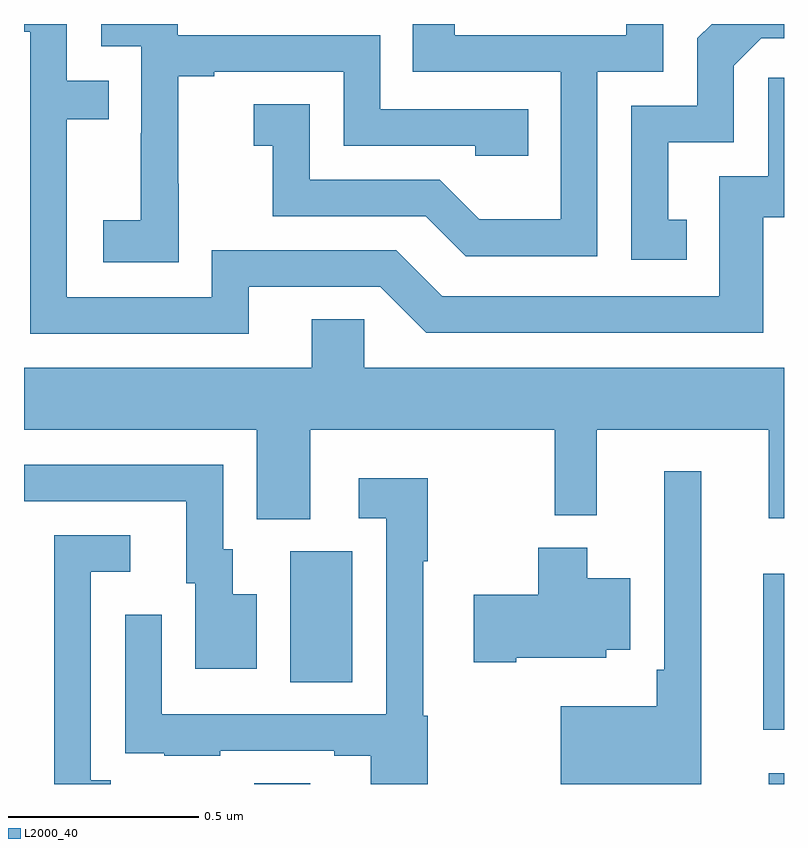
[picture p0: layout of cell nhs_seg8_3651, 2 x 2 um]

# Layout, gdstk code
import gdstk
lib = gdstk.Library(unit=1e-6, precision=1e-09)
def R(c, l, rs):  # rectangles x0, y0, x1, y1
    for r in rs: c.add(gdstk.rectangle(r[:2], r[2:], *l))
def P(c, l, *ps):  # polygons
    for p in ps: c.add(gdstk.Polygon(p, *l))
L2000_40 = (2000, 40)

nhs_seg8_3651 = lib.new_cell('nhs_seg8_3651')
R(nhs_seg8_3651, L2000_40, [(160.606,1116.9,160.753,1116.902), (161.96,1116.9,162,1116.928), (161.945,1117.043,162,1117.453), (160.7,1117.168,160.864,1117.512)])
P(nhs_seg8_3651, L2000_40, [(161.744,1118.385),(161.695,1118.385),(161.695,1118.589),(161.868,1118.589),(161.868,1118.79),(161.94,1118.862),(162,1118.862),(162,1118.9),(161.81,1118.9),(161.772,1118.862),(161.772,1118.685),(161.598,1118.685),(161.598,1118.28),(161.744,1118.28)],
  [(161.508,1118.775),(161.682,1118.775),(161.682,1118.9),(161.585,1118.9),(161.585,1118.871),(161.134,1118.871),(161.134,1118.9),(161.023,1118.9),(161.023,1118.775),(161.412,1118.775),(161.412,1118.386),(161.198,1118.386),(161.094,1118.49),(160.752,1118.49),(160.752,1118.689),(160.605,1118.689),(160.605,1118.579),(160.654,1118.579),(160.654,1118.394),(161.057,1118.394),(161.162,1118.289),(161.508,1118.289)],
  [(160.407,1118.479),(160.406,1118.479),(160.406,1118.763),(160.501,1118.763),(160.501,1118.775),(160.842,1118.775),(160.842,1118.58),(161.187,1118.58),(161.187,1118.553),(161.327,1118.553),(161.327,1118.676),(160.938,1118.676),(160.938,1118.871),(160.404,1118.871),(160.404,1118.9),(160.203,1118.9),(160.203,1118.841),(160.308,1118.841),(160.308,1118.612),(160.307,1118.612),(160.307,1118.383),(160.209,1118.383),(160.209,1118.273),(160.407,1118.273)],
  [(160.591,1118.208),(160.938,1118.208),(161.058,1118.088),(161.945,1118.088),(161.945,1118.391),(162,1118.391),(162,1118.758),(161.958,1118.758),(161.958,1118.499),(161.829,1118.499),(161.829,1118.184),(161.1,1118.184),(160.98,1118.304),(160.494,1118.304),(160.494,1118.181),(160.113,1118.181),(160.113,1118.65),(160.223,1118.65),(160.223,1118.751),(160.113,1118.751),(160.113,1118.9),(160,1118.9),(160,1118.88),(160.017,1118.88),(160.017,1118.085),(160.591,1118.085)],
  [(160.753,1117.832),(161.397,1117.832),(161.397,1117.607),(161.507,1117.607),(161.507,1117.832),(161.96,1117.832),(161.96,1117.599),(162,1117.599),(162,1117.996),(160.896,1117.996),(160.896,1118.123),(160.757,1118.123),(160.757,1117.996),(160,1117.996),(160,1117.832),(160.613,1117.832),(160.613,1117.597),(160.753,1117.597)],
  [(160.612,1117.399),(160.549,1117.399),(160.549,1117.518),(160.524,1117.518),(160.524,1117.74),(160,1117.74),(160,1117.644),(160.427,1117.644),(160.427,1117.428),(160.451,1117.428),(160.451,1117.203),(160.612,1117.203)],
  [(161.782,1117.723),(161.685,1117.723),(161.685,1117.201),(161.665,1117.201),(161.665,1117.105),(161.412,1117.105),(161.412,1116.9),(161.782,1116.9)],
  [(161.062,1117.08),(161.05,1117.08),(161.05,1117.486),(161.062,1117.486),(161.062,1117.705),(160.881,1117.705),(160.881,1117.599),(160.953,1117.599),(160.953,1117.083),(160.362,1117.083),(160.362,1117.345),(160.266,1117.345),(160.266,1117.09),(160.267,1117.09),(160.267,1116.981),(160.369,1116.981),(160.369,1116.975),(160.517,1116.975),(160.517,1116.987),(160.817,1116.987),(160.817,1116.975),(160.913,1116.975),(160.913,1116.9),(161.062,1116.9)],
  [(160.228,1116.91),(160.176,1116.91),(160.176,1117.458),(160.279,1117.458),(160.279,1117.554),(160.08,1117.554),(160.08,1117.097),(160.079,1117.097),(160.079,1116.9),(160.228,1116.9)],
  [(161.296,1117.232),(161.532,1117.232),(161.532,1117.253),(161.596,1117.253),(161.596,1117.441),(161.482,1117.441),(161.482,1117.522),(161.353,1117.522),(161.353,1117.398),(161.184,1117.398),(161.184,1117.22),(161.296,1117.22)])

lib.write_gds('nhs_seg8_3651.gds')
